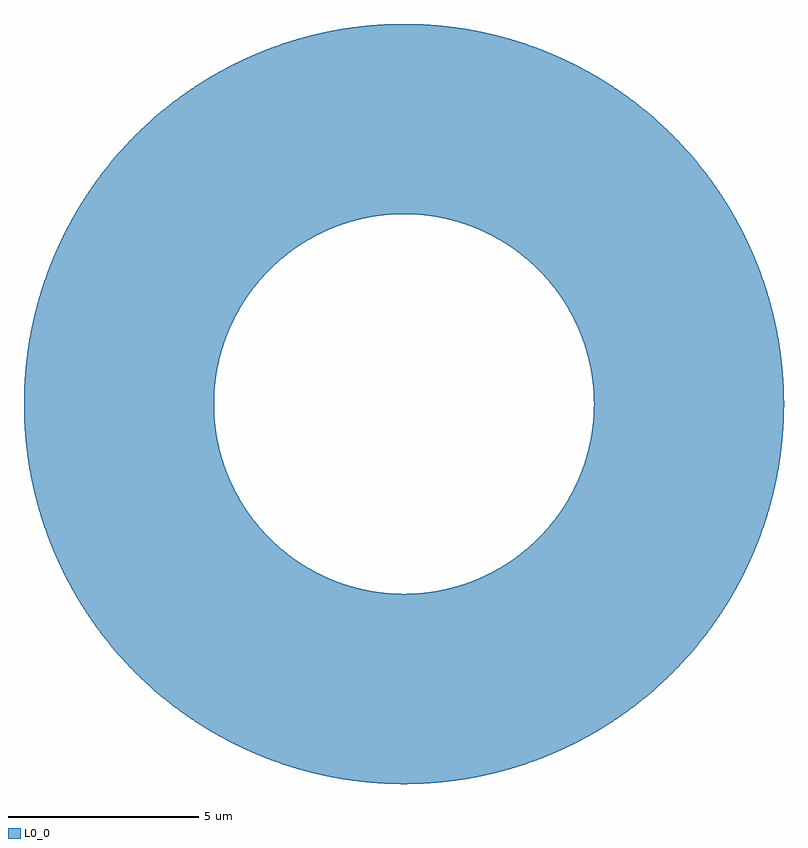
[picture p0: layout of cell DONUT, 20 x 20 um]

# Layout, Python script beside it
import gdspy

# Create a library and a cell to hold the geometry
lib = gdspy.GdsLibrary()
cell = lib.new_cell('DONUT')

# Define the donut parameters
outer_radius = 10.0  # in mm
inner_radius = 5.0   # in mm
max_points_distance = 0.01  # in mm

# Calculate the number of points needed to achieve the smoothness
import math

def calculate_points(radius, max_distance):
    return max(3, int(2 * math.pi * radius / max_distance))

# Create the donut shape using gdspy.Round
inner_points = calculate_points(inner_radius, max_points_distance)
outer_points = calculate_points(outer_radius, max_points_distance)

donut = gdspy.Round(
    (0, 0), 
    outer_radius, 
    inner_radius=inner_radius, 
    number_of_points=max(inner_points, outer_points)
)

# Add the shape to the cell
cell.add(donut)

# Save the GDS layout to a file
lib.write_gds('donut.gds')

print("Donut shape GDS file created successfully.")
